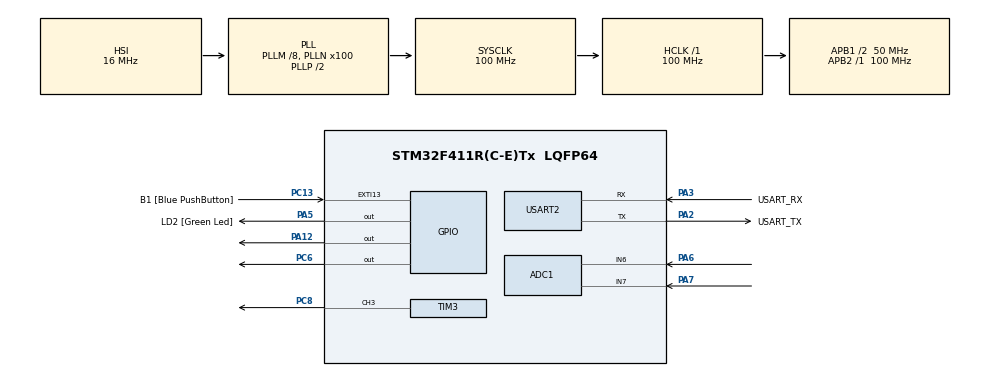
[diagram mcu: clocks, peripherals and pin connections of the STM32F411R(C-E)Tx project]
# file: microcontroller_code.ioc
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ADC1.Channel-0\#ChannelRegularConversion=ADC_CHANNEL_7
ADC1.Channel-1\#ChannelRegularConversion=ADC_CHANNEL_6
ADC1.ContinuousConvMode=DISABLE
ADC1.DMAContinuousRequests=ENABLE
ADC1.NbrOfConversion=2
ADC1.NbrOfConversionFlag=1
ADC1.Rank-0\#ChannelRegularConversion=1
ADC1.Rank-1\#ChannelRegularConversion=2
ADC1.SamplingTime-0\#ChannelRegularConversion=ADC_SAMPLETIME_15CYCLES
ADC1.SamplingTime-1\#ChannelRegularConversion=ADC_SAMPLETIME_28CYCLES
ADC1.ScanConvMode=ENABLE
ADC1.master=1
Dma.ADC1.0.Direction=DMA_PERIPH_TO_MEMORY
Dma.ADC1.0.FIFOMode=DMA_FIFOMODE_DISABLE
Dma.ADC1.0.Instance=DMA2_Stream0
Dma.ADC1.0.MemDataAlignment=DMA_MDATAALIGN_HALFWORD
Dma.ADC1.0.MemInc=DMA_MINC_ENABLE
Dma.ADC1.0.Mode=DMA_CIRCULAR
Dma.ADC1.0.PeriphDataAlignment=DMA_PDATAALIGN_HALFWORD
Dma.ADC1.0.PeriphInc=DMA_PINC_DISABLE
Dma.ADC1.0.Priority=DMA_PRIORITY_LOW
Dma.Request0=ADC1
Dma.Request1=USART2_RX
Dma.USART2_RX.1.Direction=DMA_PERIPH_TO_MEMORY
Dma.USART2_RX.1.FIFOMode=DMA_FIFOMODE_DISABLE
Dma.USART2_RX.1.Instance=DMA1_Stream5
Dma.USART2_RX.1.MemDataAlignment=DMA_MDATAALIGN_BYTE
Dma.USART2_RX.1.MemInc=DMA_MINC_ENABLE
Dma.USART2_RX.1.Mode=DMA_CIRCULAR
Dma.USART2_RX.1.PeriphDataAlignment=DMA_PDATAALIGN_BYTE
Dma.USART2_RX.1.PeriphInc=DMA_PINC_DISABLE
Dma.USART2_RX.1.Priority=DMA_PRIORITY_LOW
Mcu.Family=STM32F4
Mcu.Name=STM32F411R(C-E)Tx
Mcu.Package=LQFP64
NVIC.ADC_IRQn=true\:0\:0\:false\:false\:true\:true\:true
NVIC.DMA1_Stream5_IRQn=true\:0\:0\:false\:false\:true\:false\:true
NVIC.DMA2_Stream0_IRQn=true\:0\:0\:false\:false\:true\:false\:true
NVIC.PriorityGroup=NVIC_PRIORITYGROUP_0
NVIC.TIM1_TRG_COM_TIM11_IRQn=true\:0\:0\:false\:false\:true\:true\:true
NVIC.USART2_IRQn=true\:0\:0\:false\:false\:true\:true\:true
PA12.Signal=GPIO_Output
PA13.GPIO_Label=TMS
PA13.Mode=Serial_Wire
PA13.Signal=SYS_JTMS-SWDIO
PA14.GPIO_Label=TCK
PA14.Mode=Serial_Wire
PA14.Signal=SYS_JTCK-SWCLK
PA2.GPIO_Label=USART_TX
PA2.Mode=Asynchronous
PA2.Signal=USART2_TX
PA3.GPIO_Label=USART_RX
PA3.Mode=Asynchronous
PA3.Signal=USART2_RX
PA5.GPIO_Label=LD2 [Green Led]
PA5.Signal=GPIO_Output
PA6.Signal=ADCx_IN6
PA7.Signal=ADCx_IN7
PC13-ANTI_TAMP.GPIO_Label=B1 [Blue PushButton]
PC13-ANTI_TAMP.GPIO_ModeDefaultEXTI=GPIO_MODE_IT_FALLING
PC13-ANTI_TAMP.Signal=GPXTI13
PC14-OSC32_IN.Mode=LSE-External-Oscillator
PC14-OSC32_IN.Signal=RCC_OSC32_IN
PC15-OSC32_OUT.Mode=LSE-External-Oscillator
PC15-OSC32_OUT.Signal=RCC_OSC32_OUT
PC6.Signal=GPIO_Output
PC8.Signal=S_TIM3_CH3
PH0\ -\ OSC_IN.Mode=HSE-External-Clock-Source
PH0\ -\ OSC_IN.Signal=RCC_OSC_IN
PH1\ -\ OSC_OUT.Mode=HSE-External-Clock-Source
PH1\ -\ OSC_OUT.Signal=RCC_OSC_OUT
ProjectManager.HeapSize=0x200
ProjectManager.StackSize=0x400
ProjectManager.TargetToolchain=STM32CubeIDE
RCC.48MHZClocksFreq_Value=50000000
RCC.AHBFreq_Value=100000000
RCC.APB1CLKDivider=RCC_HCLK_DIV2
RCC.APB1Freq_Value=50000000
RCC.APB1TimFreq_Value=100000000
RCC.APB2Freq_Value=100000000
RCC.APB2TimFreq_Value=100000000
RCC.CortexFreq_Value=100000000
RCC.FLatency-AdvancedSettings=FLASH_LATENCY_3
RCC.HCLKFreq_Value=100000000
RCC.HSE_VALUE=8000000
RCC.HSI_VALUE=16000000
RCC.PLLM=8
RCC.PLLN=100
RCC.SYSCLKFreq_VALUE=100000000
RCC.SYSCLKSource=RCC_SYSCLKSOURCE_PLLCLK
RCC.VCOOutputFreq_Value=200000000
SH.ADCx_IN6.0=ADC1_IN6,IN6
SH.ADCx_IN7.0=ADC1_IN7,IN7
SH.S_TIM3_CH3.0=TIM3_CH3,PWM Generation3 CH3
TIM11.Period=65535
TIM11.Prescaler=99
TIM3.Channel-PWM\ Generation3\ CH3=TIM_CHANNEL_3
TIM3.Period=1000
TIM3.Prescaler=99
USART2.VirtualMode=VM_ASYNC
VP_TIM11_VS_ClockSourceINT.Mode=Enable_Timer
VP_TIM3_VS_ClockSourceINT.Mode=Internal
board=NUCLEO-F411RE

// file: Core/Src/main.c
/* USER CODE BEGIN Header */
/**
  ******************************************************************************
  * @file           : main.c
  * @brief          : Main program body
  ******************************************************************************
  * @attention
  *
  * Copyright (c) 2022 STMicroelectronics.
  * All rights reserved.
  *
  * This software is licensed under terms that can be found in the LICENSE file
  * in the root directory of this software component.
  * If no LICENSE file comes with this software, it is provided AS-IS.
  *
  ******************************************************************************
  */
/* USER CODE END Header */
#include "main.h"

ADC_HandleTypeDef hadc1;
DMA_HandleTypeDef hdma_adc1;

TIM_HandleTypeDef htim3;
TIM_HandleTypeDef htim11;

UART_HandleTypeDef huart2;
DMA_HandleTypeDef hdma_usart2_rx;

/* USER CODE BEGIN PV */
uint64_t micro = 0;
uint8_t RxBuffer[64]={0};
uint16_t ADCvalue[2] = {0};
uint8_t data[9] =  {73, 109, 64, 100, 0, 0, 0, 0, 126};
uint32_t count = 0;
/* USER CODE END PV */

void SystemClock_Config(void);
static void MX_DMA_Init(void);
static void MX_ADC1_Init(void);
static void MX_GPIO_Init(void);
static void MX_USART2_UART_Init(void);
static void MX_TIM11_Init(void);
static void MX_TIM3_Init(void);
/* USER CODE BEGIN PFP */
uint64_t Micros();
void uartprotocol();
void Drivemotor(int PWM);
/* USER CODE END PFP */

int main(void)
{

  /* MCU Configuration--------------------------------------------------------*/

  /* Reset of all peripherals, Initializes the Flash interface and the Systick. */
  HAL_Init();

  /* Configure the system clock */
  SystemClock_Config();

  /* Initialize all configured peripherals */
  MX_DMA_Init();
  MX_ADC1_Init();
  MX_GPIO_Init();
  MX_USART2_UART_Init();
  MX_TIM11_Init();
  MX_TIM3_Init();
  /* USER CODE BEGIN 2 */
  HAL_TIM_Base_Start_IT(&htim11);
  HAL_UART_Receive_DMA(&huart2, (uint8_t *)RxBuffer, 64);
  HAL_TIM_Base_Start(&htim3);
  HAL_TIM_PWM_Start(&htim3, TIM_CHANNEL_3);
  HAL_ADC_Start_DMA(&hadc1, (uint16_t *)ADCvalue, 2);
  //HAL_UART_Transmit_DMA(&huart2, data, 9);
  /* USER CODE END 2 */

  /* Infinite loop */
  /* USER CODE BEGIN WHILE */
  while (1)
  {
	  uartprotocol();
	  HAL_GPIO_WritePin(GPIOA, GPIO_PIN_12, GPIO_PIN_SET);
	  static uint64_t timeStamp = 0;
	  if(Micros() - timeStamp > 10000){
		  timeStamp = Micros();
		  HAL_UART_Transmit_IT(&huart2, data, 9);
	  }

    /* USER CODE END WHILE */

  }
}

void SystemClock_Config(void)
{
  RCC_OscInitTypeDef RCC_OscInitStruct = {0};
  RCC_ClkInitTypeDef RCC_ClkInitStruct = {0};

  /** Configure the main internal regulator output voltage
  */
  __HAL_RCC_PWR_CLK_ENABLE();
  __HAL_PWR_VOLTAGESCALING_CONFIG(PWR_REGULATOR_VOLTAGE_SCALE1);
  /** Initializes the RCC Oscillators according to the specified parameters
  * in the RCC_OscInitTypeDef structure.
  */
  RCC_OscInitStruct.OscillatorType = RCC_OSCILLATORTYPE_HSI;
  RCC_OscInitStruct.HSIState = RCC_HSI_ON;
  RCC_OscInitStruct.HSICalibrationValue = RCC_HSICALIBRATION_DEFAULT;
  RCC_OscInitStruct.PLL.PLLState = RCC_PLL_ON;
  RCC_OscInitStruct.PLL.PLLSource = RCC_PLLSOURCE_HSI;
  RCC_OscInitStruct.PLL.PLLM = 8;
  RCC_OscInitStruct.PLL.PLLN = 100;
  RCC_OscInitStruct.PLL.PLLP = RCC_PLLP_DIV2;
  RCC_OscInitStruct.PLL.PLLQ = 4;
  if (HAL_RCC_OscConfig(&RCC_OscInitStruct) != HAL_OK)
  {
    Error_Handler();
  }
  /** Initializes the CPU, AHB and APB buses clocks
  */
  RCC_ClkInitStruct.ClockType = RCC_CLOCKTYPE_HCLK|RCC_CLOCKTYPE_SYSCLK
                              |RCC_CLOCKTYPE_PCLK1|RCC_CLOCKTYPE_PCLK2;
  RCC_ClkInitStruct.SYSCLKSource = RCC_SYSCLKSOURCE_PLLCLK;
  RCC_ClkInitStruct.AHBCLKDivider = RCC_SYSCLK_DIV1;
  RCC_ClkInitStruct.APB1CLKDivider = RCC_HCLK_DIV2;
  RCC_ClkInitStruct.APB2CLKDivider = RCC_HCLK_DIV1;

  if (HAL_RCC_ClockConfig(&RCC_ClkInitStruct, FLASH_LATENCY_3) != HAL_OK)
  {
    Error_Handler();
  }
}

static void MX_ADC1_Init(void)
{

  ADC_ChannelConfTypeDef sConfig = {0};

  /** Configure the global features of the ADC (Clock, Resolution, Data Alignment and number of conversion)
  */
  hadc1.Instance = ADC1;
  hadc1.Init.ClockPrescaler = ADC_CLOCK_SYNC_PCLK_DIV4;
  hadc1.Init.Resolution = ADC_RESOLUTION_12B;
  hadc1.Init.ScanConvMode = ENABLE;
  hadc1.Init.ContinuousConvMode = DISABLE;
  hadc1.Init.DiscontinuousConvMode = DISABLE;
  hadc1.Init.ExternalTrigConvEdge = ADC_EXTERNALTRIGCONVEDGE_NONE;
  hadc1.Init.ExternalTrigConv = ADC_SOFTWARE_START;
  hadc1.Init.DataAlign = ADC_DATAALIGN_RIGHT;
  hadc1.Init.NbrOfConversion = 2;
  hadc1.Init.DMAContinuousRequests = ENABLE;
  hadc1.Init.EOCSelection = ADC_EOC_SINGLE_CONV;
  if (HAL_ADC_Init(&hadc1) != HAL_OK)
  {
    Error_Handler();
  }
  /** Configure for the selected ADC regular channel its corresponding rank in the sequencer and its sample time.
  */
  sConfig.Channel = ADC_CHANNEL_7;
  sConfig.Rank = 1;
  sConfig.SamplingTime = ADC_SAMPLETIME_15CYCLES;
  if (HAL_ADC_ConfigChannel(&hadc1, &sConfig) != HAL_OK)
  {
    Error_Handler();
  }
  /** Configure for the selected ADC regular channel its corresponding rank in the sequencer and its sample time.
  */
  sConfig.Channel = ADC_CHANNEL_6;
  sConfig.Rank = 2;
  sConfig.SamplingTime = ADC_SAMPLETIME_28CYCLES;
  if (HAL_ADC_ConfigChannel(&hadc1, &sConfig) != HAL_OK)
  {
    Error_Handler();
  }

}

static void MX_TIM3_Init(void)
{

  TIM_ClockConfigTypeDef sClockSourceConfig = {0};
  TIM_MasterConfigTypeDef sMasterConfig = {0};
  TIM_OC_InitTypeDef sConfigOC = {0};

  htim3.Instance = TIM3;
  htim3.Init.Prescaler = 99;
  htim3.Init.CounterMode = TIM_COUNTERMODE_UP;
  htim3.Init.Period = 1000;
  htim3.Init.ClockDivision = TIM_CLOCKDIVISION_DIV1;
  htim3.Init.AutoReloadPreload = TIM_AUTORELOAD_PRELOAD_DISABLE;
  if (HAL_TIM_Base_Init(&htim3) != HAL_OK)
  {
    Error_Handler();
  }
  sClockSourceConfig.ClockSource = TIM_CLOCKSOURCE_INTERNAL;
  if (HAL_TIM_ConfigClockSource(&htim3, &sClockSourceConfig) != HAL_OK)
  {
    Error_Handler();
  }
  if (HAL_TIM_PWM_Init(&htim3) != HAL_OK)
  {
    Error_Handler();
  }
  sMasterConfig.MasterOutputTrigger = TIM_TRGO_RESET;
  sMasterConfig.MasterSlaveMode = TIM_MASTERSLAVEMODE_DISABLE;
  if (HAL_TIMEx_MasterConfigSynchronization(&htim3, &sMasterConfig) != HAL_OK)
  {
    Error_Handler();
  }
  sConfigOC.OCMode = TIM_OCMODE_PWM1;
  sConfigOC.Pulse = 0;
  sConfigOC.OCPolarity = TIM_OCPOLARITY_HIGH;
  sConfigOC.OCFastMode = TIM_OCFAST_DISABLE;
  if (HAL_TIM_PWM_ConfigChannel(&htim3, &sConfigOC, TIM_CHANNEL_3) != HAL_OK)
  {
    Error_Handler();
  }
  HAL_TIM_MspPostInit(&htim3);

}

static void MX_TIM11_Init(void)
{

  htim11.Instance = TIM11;
  htim11.Init.Prescaler = 99;
  htim11.Init.CounterMode = TIM_COUNTERMODE_UP;
  htim11.Init.Period = 65535;
  htim11.Init.ClockDivision = TIM_CLOCKDIVISION_DIV1;
  htim11.Init.AutoReloadPreload = TIM_AUTORELOAD_PRELOAD_DISABLE;
  if (HAL_TIM_Base_Init(&htim11) != HAL_OK)
  {
    Error_Handler();
  }

}

static void MX_USART2_UART_Init(void)
{

  huart2.Instance = USART2;
  huart2.Init.BaudRate = 115200;
  huart2.Init.WordLength = UART_WORDLENGTH_8B;
  huart2.Init.StopBits = UART_STOPBITS_1;
  huart2.Init.Parity = UART_PARITY_NONE;
  huart2.Init.Mode = UART_MODE_TX_RX;
  huart2.Init.HwFlowCtl = UART_HWCONTROL_NONE;
  huart2.Init.OverSampling = UART_OVERSAMPLING_16;
  if (HAL_UART_Init(&huart2) != HAL_OK)
  {
    Error_Handler();
  }

}

static void MX_DMA_Init(void)
{

  /* DMA controller clock enable */
  __HAL_RCC_DMA2_CLK_ENABLE();
  __HAL_RCC_DMA1_CLK_ENABLE();

  /* DMA interrupt init */
  /* DMA1_Stream5_IRQn interrupt configuration */
  HAL_NVIC_SetPriority(DMA1_Stream5_IRQn, 0, 0);
  HAL_NVIC_EnableIRQ(DMA1_Stream5_IRQn);
  /* DMA2_Stream0_IRQn interrupt configuration */
  HAL_NVIC_SetPriority(DMA2_Stream0_IRQn, 0, 0);
  HAL_NVIC_EnableIRQ(DMA2_Stream0_IRQn);

}

static void MX_GPIO_Init(void)
{
  GPIO_InitTypeDef GPIO_InitStruct = {0};

  /* GPIO Ports Clock Enable */
  __HAL_RCC_GPIOC_CLK_ENABLE();
  __HAL_RCC_GPIOH_CLK_ENABLE();
  __HAL_RCC_GPIOA_CLK_ENABLE();

  /*Configure GPIO pin Output Level */
  HAL_GPIO_WritePin(GPIOA, LD2_Pin|GPIO_PIN_12, GPIO_PIN_RESET);

  /*Configure GPIO pin Output Level */
  HAL_GPIO_WritePin(GPIOC, GPIO_PIN_6, GPIO_PIN_RESET);

  /*Configure GPIO pin : B1_Pin */
  GPIO_InitStruct.Pin = B1_Pin;
  GPIO_InitStruct.Mode = GPIO_MODE_IT_FALLING;
  GPIO_InitStruct.Pull = GPIO_NOPULL;
  HAL_GPIO_Init(B1_GPIO_Port, &GPIO_InitStruct);

  /*Configure GPIO pins : LD2_Pin PA12 */
  GPIO_InitStruct.Pin = LD2_Pin|GPIO_PIN_12;
  GPIO_InitStruct.Mode = GPIO_MODE_OUTPUT_PP;
  GPIO_InitStruct.Pull = GPIO_NOPULL;
  GPIO_InitStruct.Speed = GPIO_SPEED_FREQ_LOW;
  HAL_GPIO_Init(GPIOA, &GPIO_InitStruct);

  /*Configure GPIO pin : PC6 */
  GPIO_InitStruct.Pin = GPIO_PIN_6;
  GPIO_InitStruct.Mode = GPIO_MODE_OUTPUT_PP;
  GPIO_InitStruct.Pull = GPIO_NOPULL;
  GPIO_InitStruct.Speed = GPIO_SPEED_FREQ_LOW;
  HAL_GPIO_Init(GPIOC, &GPIO_InitStruct);

}

/* USER CODE BEGIN 4 */
void HAL_TIM_PeriodElapsedCallback(TIM_HandleTypeDef *htim) {
	if (htim == &htim11) {
		micro += 65535;
	}
}

uint64_t Micros(){
	return micro + TIM11->CNT;
}

void HAL_ADC_ConvCpltCallback(ADC_HandleTypeDef *AdcHandle){
	if(AdcHandle == &hadc1){
		data[4] = ADCvalue[0] >> 8;
		data[5] = ADCvalue[0] & 0xFF;
		data[6] = ADCvalue[1] >> 8;
		data[7] = ADCvalue[1] & 0xFF;
		HAL_ADC_Start_DMA(&hadc1, (uint16_t *)ADCvalue, 2);
	}
}

uint8_t Posdata=0;
uint8_t PosdataPre=0;

int32_t valueuart=0;
uint8_t stateuart=0;
void uartprotocol(){
	static int8_t tempuart=0;
	static uint16_t tempARR=0;
	Posdata=huart2.RxXferSize-huart2.hdmarx->Instance->NDTR;
	if(Posdata!=PosdataPre ){
		switch(stateuart){
			case 0:
				if(RxBuffer[PosdataPre]==73){
					stateuart=1;

				}else{
					stateuart=0;
				}
			break;
			case 1:
				if(RxBuffer[PosdataPre]==109){
					stateuart=2;

				}else{
					stateuart=0;
				}
			break;
			case 2:
				if(RxBuffer[PosdataPre]==64){
					stateuart=3;

				}else{
					stateuart=0;
				}
			break;
			case 3:
				if(RxBuffer[PosdataPre]==99){
					stateuart=4;
				}
				else if(RxBuffer[PosdataPre]==100){
					stateuart=7;
				}else{
					stateuart=0;
				}
			break;
			case 4:
				if(RxBuffer[PosdataPre]>0){
					tempuart=1;
				}
				else{
					tempuart=-1;
				}
				stateuart=5;
			break;
			case 5:
				tempuart*=RxBuffer[PosdataPre];
				stateuart=6;
			break;
			case 6:
				if(RxBuffer[PosdataPre]==126){
					valueuart=(int32_t)tempuart;
					valueuart=(valueuart*(int)(TIM3->ARR))/100;
					Drivemotor(valueuart);
					stateuart=0;
				}else{
					stateuart=0;
				}
			break;
			case 7:
				tempARR = RxBuffer[PosdataPre] << 8;
				stateuart=8;
			break;
			case 8:
				tempARR += RxBuffer[PosdataPre];
				stateuart=9;
			break;
			case 9:
				if(RxBuffer[PosdataPre]==126){
					TIM3->CCR3 = 0;
					TIM3->ARR = tempARR;
					stateuart=0;
				}else{
					stateuart=0;
				}
				break;
		}
		PosdataPre=(PosdataPre+1)%64;
	}
}

uint32_t aaabs(int x){
	if(x<0){
		return x*-1;
	}else{
		return x;
	}
}

void Drivemotor(int PWM){
	if (PWM>=0){
		HAL_GPIO_WritePin(GPIOC, GPIO_PIN_6, GPIO_PIN_SET);
		TIM3->CCR3 = PWM;
	}
	else{
		HAL_GPIO_WritePin(GPIOC, GPIO_PIN_6, GPIO_PIN_RESET);
		TIM3->CCR3 = -PWM;
	}

}
/* USER CODE END 4 */

void Error_Handler(void)
{
  __disable_irq();
  while (1)
  {
  }
}
